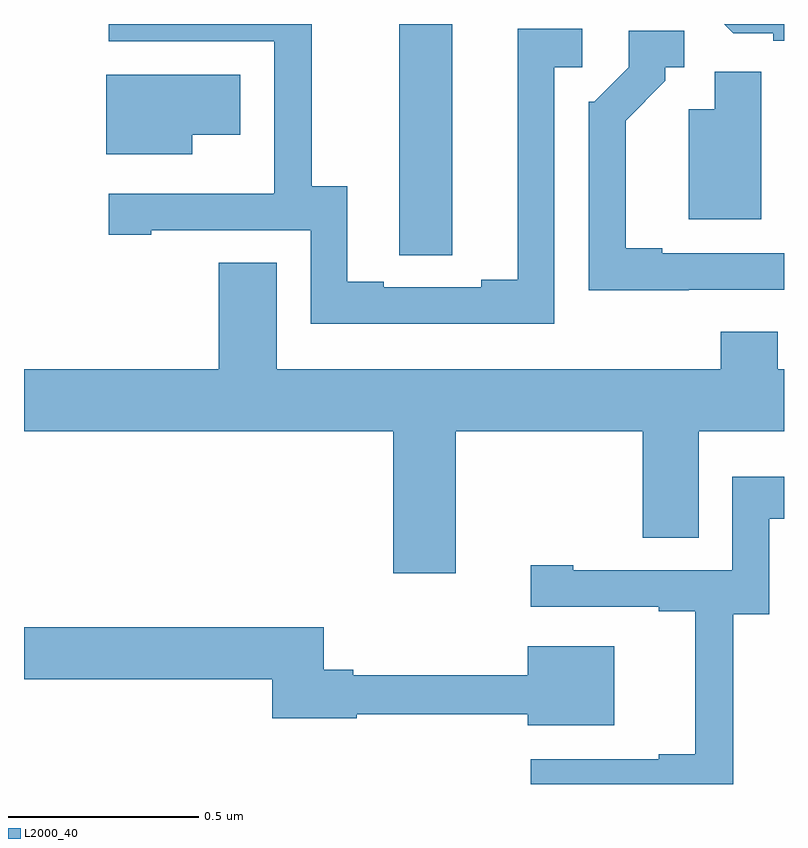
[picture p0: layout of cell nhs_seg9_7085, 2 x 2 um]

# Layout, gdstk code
import gdstk
lib = gdstk.Library(unit=1e-6, precision=1e-09)
def P(c, l, *ps):  # polygons
    for p in ps: c.add(gdstk.Polygon(p, *l))
L2000_40 = (2000, 40)

nhs_seg9_7085 = lib.new_cell('nhs_seg9_7085')
P(nhs_seg9_7085, L2000_40, [(201.127,1189.5),(200.987,1189.5),(200.987,1189),(200.988,1189),(200.988,1188.892),(201.127,1188.892)],
  [(202,1189.5),(201.843,1189.5),(201.867,1189.476),(201.972,1189.476),(201.972,1189.456),(202,1189.456)],
  [(201.396,1189.386),(201.469,1189.386),(201.469,1189.487),(201.299,1189.487),(201.299,1188.827),(201.203,1188.827),(201.203,1188.807),(200.947,1188.807),(200.947,1188.822),(200.851,1188.822),(200.851,1189.073),(200.757,1189.073),(200.757,1189.5),(200.223,1189.5),(200.223,1189.455),(200.658,1189.455),(200.658,1189.054),(200.657,1189.054),(200.657,1189.053),(200.223,1189.053),(200.223,1188.945),(200.335,1188.945),(200.335,1188.957),(200.754,1188.957),(200.754,1188.711),(201.396,1188.711)],
  [(201.749,1188.801),(202,1188.801),(202,1188.897),(201.679,1188.897),(201.679,1188.91),(201.583,1188.91),(201.583,1189.246),(201.688,1189.351),(201.688,1189.386),(201.738,1189.386),(201.738,1189.482),(201.591,1189.482),(201.591,1189.386),(201.501,1189.296),(201.486,1189.296),(201.486,1188.8),(201.749,1188.8)],
  [(201.94,1189.374),(201.818,1189.374),(201.818,1189.276),(201.749,1189.276),(201.749,1188.986),(201.94,1188.986)],
  [(200.443,1189.208),(200.569,1189.208),(200.569,1189.366),(200.216,1189.366),(200.216,1189.157),(200.443,1189.157)],
  [(201.136,1188.428),(201.628,1188.428),(201.628,1188.148),(201.775,1188.148),(201.775,1188.428),(202,1188.428),(202,1188.592),(201.984,1188.592),(201.984,1188.69),(201.833,1188.69),(201.833,1188.592),(200.665,1188.592),(200.665,1188.872),(200.513,1188.872),(200.513,1188.592),(200,1188.592),(200,1188.428),(200.972,1188.428),(200.972,1188.054),(201.136,1188.054)],
  [(201.867,1187.947),(201.961,1187.947),(201.961,1188.198),(202,1188.198),(202,1188.309),(201.864,1188.309),(201.864,1188.063),(201.445,1188.063),(201.445,1188.076),(201.333,1188.076),(201.333,1187.967),(201.671,1187.967),(201.671,1187.955),(201.767,1187.955),(201.767,1187.578),(201.671,1187.578),(201.671,1187.565),(201.333,1187.565),(201.333,1187.5),(201.867,1187.5)],
  [(201.553,1187.863),(201.326,1187.863),(201.326,1187.786),(200.866,1187.786),(200.866,1187.801),(200.789,1187.801),(200.789,1187.912),(200,1187.912),(200,1187.776),(200.653,1187.776),(200.653,1187.673),(200.876,1187.673),(200.876,1187.683),(201.326,1187.683),(201.326,1187.654),(201.553,1187.654)])

lib.write_gds('nhs_seg9_7085.gds')
